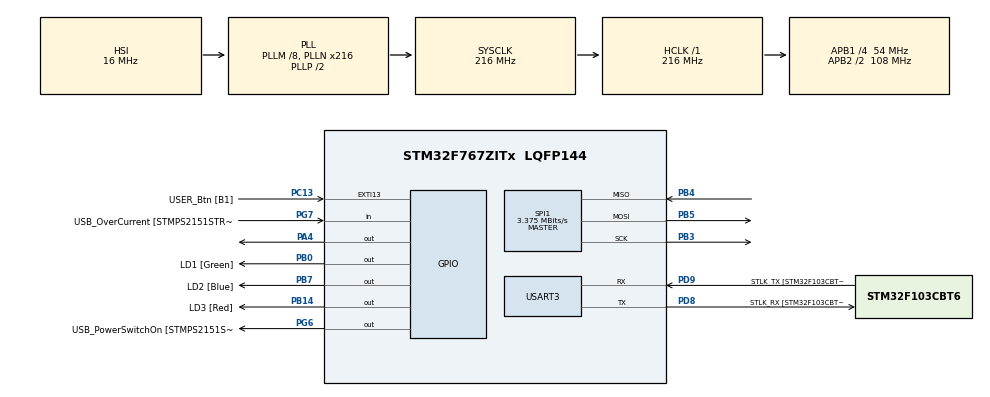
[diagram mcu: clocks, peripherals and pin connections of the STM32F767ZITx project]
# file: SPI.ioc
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Mcu.Family=STM32F7
Mcu.Name=STM32F767ZITx
Mcu.Package=LQFP144
NVIC.PriorityGroup=NVIC_PRIORITYGROUP_4
NVIC.SPI1_IRQn=true\:0\:0\:false\:false\:true\:true\:true
NVIC.USART3_IRQn=true\:0\:0\:false\:false\:true\:true\:true
PA4.Signal=GPIO_Output
PB0.GPIO_Label=LD1 [Green]
PB0.Signal=GPIO_Output
PB14.GPIO_Label=LD3 [Red]
PB14.Signal=GPIO_Output
PB3.Mode=Full_Duplex_Master
PB3.Signal=SPI1_SCK
PB4.Mode=Full_Duplex_Master
PB4.Signal=SPI1_MISO
PB5.Mode=Full_Duplex_Master
PB5.Signal=SPI1_MOSI
PB7.GPIO_Label=LD2 [Blue]
PB7.Signal=GPIO_Output
PC13.GPIO_Label=USER_Btn [B1]
PC13.Signal=GPXTI13
PD8.GPIO_Label=STLK_RX [STM32F103CBT6_PA3]
PD8.Mode=Asynchronous
PD8.Signal=USART3_TX
PD9.GPIO_Label=STLK_TX [STM32F103CBT6_PA2]
PD9.Mode=Asynchronous
PD9.Signal=USART3_RX
PG6.GPIO_Label=USB_PowerSwitchOn [STMPS2151STR_EN]
PG6.Signal=GPIO_Output
PG7.GPIO_Label=USB_OverCurrent [STMPS2151STR_FAULT]
PG7.Signal=GPIO_Input
ProjectManager.HeapSize=0x200
ProjectManager.StackSize=0x400
ProjectManager.TargetToolchain=MDK-ARM V5.27
RCC.48MHZClocksFreq_Value=24000000
RCC.AHBFreq_Value=216000000
RCC.APB1CLKDivider=RCC_HCLK_DIV4
RCC.APB1Freq_Value=54000000
RCC.APB1TimFreq_Value=108000000
RCC.APB2CLKDivider=RCC_HCLK_DIV2
RCC.APB2Freq_Value=108000000
RCC.APB2TimFreq_Value=216000000
RCC.CortexFreq_Value=216000000
RCC.HCLKFreq_Value=216000000
RCC.HSE_VALUE=16000000
RCC.HSI_VALUE=16000000
RCC.LSE_VALUE=32768
RCC.PLLM=8
RCC.PLLMUL=RCC_PLL_MUL9
RCC.PLLN=216
RCC.PRESCALERUSB=RCC_USBCLKSOURCE_PLL_DIV1_5
RCC.SYSCLKFreq_VALUE=216000000
RCC.SYSCLKSource=RCC_SYSCLKSOURCE_PLLCLK
RCC.SYSCLKSourceVirtual=RCC_SYSCLKSOURCE_PLLCLK
RCC.USBFreq_Value=216000000
RCC.VCOOutputFreq_Value=432000000
SPI1.BaudRatePrescaler=SPI_BAUDRATEPRESCALER_32
SPI1.CalculateBaudRate=3.375 MBits/s
SPI1.DataSize=SPI_DATASIZE_8BIT
SPI1.Direction=SPI_DIRECTION_2LINES
SPI1.Mode=SPI_MODE_MASTER
SPI1.NSSPMode=SPI_NSS_PULSE_DISABLE
SPI1.VirtualType=VM_MASTER
USART3.VirtualMode-Asynchronous=VM_ASYNC
board=NUCLEO-F767ZI

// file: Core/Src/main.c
/* USER CODE BEGIN Header */
/**
  ******************************************************************************
  * @file           : main.c
  * @brief          : Main program body
  ******************************************************************************
  * @attention
  *
  * <h2><center>&copy; Copyright (c) 2021 STMicroelectronics.
  * All rights reserved.</center></h2>
  *
  * This software component is licensed by ST under BSD 3-Clause license,
  * the "License"; You may not use this file except in compliance with the
  * License. You may obtain a copy of the License at:
  *                        opensource.org/licenses/BSD-3-Clause
  *
  ******************************************************************************
  */
/* USER CODE END Header */
#include "main.h"
#include "spi.h"
#include "usart.h"
#include "gpio.h"

/* USER CODE BEGIN Includes */
#include "stdint.h"
#include "rfid-rc522.h"
#include "string.h"
/* USER CODE END Includes */

void SystemClock_Config(void);

int main(void)
{
  /* USER CODE BEGIN 1 */
	char *str = {0};
	uint8_t CardID[4];
  uint8_t type;
  char *result;
  /* USER CODE END 1 */

  /* MCU Configuration--------------------------------------------------------*/

  /* Reset of all peripherals, Initializes the Flash interface and the Systick. */
  HAL_Init();

  /* Configure the system clock */
  SystemClock_Config();

  /* Initialize all configured peripherals */
  MX_GPIO_Init();
  MX_SPI1_Init();
  MX_USART3_UART_Init();
  /* USER CODE BEGIN 2 */
	RFID_RC522_Init();
  /* USER CODE END 2 */

  /* Infinite loop */
  /* USER CODE BEGIN WHILE */
  while (1)
  {

		int status = TM_MFRC522_Check(CardID, &type);
		if (status == MI_OK) {
			bin_to_strhex((unsigned char *)CardID, sizeof(CardID), &result);
		}
		else {
        if (status == MI_TIMEOUT) {
            str = "timeout";
        }
        if (status == MI_ERR) {
            str = "error";
        }
    }
    /* USER CODE END WHILE */

  }
}

void SystemClock_Config(void)
{
  RCC_OscInitTypeDef RCC_OscInitStruct = {0};
  RCC_ClkInitTypeDef RCC_ClkInitStruct = {0};
  RCC_PeriphCLKInitTypeDef PeriphClkInitStruct = {0};

  /** Configure the main internal regulator output voltage
  */
  __HAL_RCC_PWR_CLK_ENABLE();
  __HAL_PWR_VOLTAGESCALING_CONFIG(PWR_REGULATOR_VOLTAGE_SCALE1);
  /** Initializes the RCC Oscillators according to the specified parameters
  * in the RCC_OscInitTypeDef structure.
  */
  RCC_OscInitStruct.OscillatorType = RCC_OSCILLATORTYPE_HSI;
  RCC_OscInitStruct.HSIState = RCC_HSI_ON;
  RCC_OscInitStruct.HSICalibrationValue = RCC_HSICALIBRATION_DEFAULT;
  RCC_OscInitStruct.PLL.PLLState = RCC_PLL_ON;
  RCC_OscInitStruct.PLL.PLLSource = RCC_PLLSOURCE_HSI;
  RCC_OscInitStruct.PLL.PLLM = 8;
  RCC_OscInitStruct.PLL.PLLN = 216;
  RCC_OscInitStruct.PLL.PLLP = RCC_PLLP_DIV2;
  RCC_OscInitStruct.PLL.PLLQ = 2;
  if (HAL_RCC_OscConfig(&RCC_OscInitStruct) != HAL_OK)
  {
    Error_Handler();
  }
  /** Activate the Over-Drive mode
  */
  if (HAL_PWREx_EnableOverDrive() != HAL_OK)
  {
    Error_Handler();
  }
  /** Initializes the CPU, AHB and APB buses clocks
  */
  RCC_ClkInitStruct.ClockType = RCC_CLOCKTYPE_HCLK|RCC_CLOCKTYPE_SYSCLK
                              |RCC_CLOCKTYPE_PCLK1|RCC_CLOCKTYPE_PCLK2;
  RCC_ClkInitStruct.SYSCLKSource = RCC_SYSCLKSOURCE_PLLCLK;
  RCC_ClkInitStruct.AHBCLKDivider = RCC_SYSCLK_DIV1;
  RCC_ClkInitStruct.APB1CLKDivider = RCC_HCLK_DIV4;
  RCC_ClkInitStruct.APB2CLKDivider = RCC_HCLK_DIV2;

  if (HAL_RCC_ClockConfig(&RCC_ClkInitStruct, FLASH_LATENCY_7) != HAL_OK)
  {
    Error_Handler();
  }
  PeriphClkInitStruct.PeriphClockSelection = RCC_PERIPHCLK_USART3;
  PeriphClkInitStruct.Usart3ClockSelection = RCC_USART3CLKSOURCE_PCLK1;
  if (HAL_RCCEx_PeriphCLKConfig(&PeriphClkInitStruct) != HAL_OK)
  {
    Error_Handler();
  }
}

void Error_Handler(void)
{
  __disable_irq();
  while (1)
  {
  }
}

/************************ (C) COPYRIGHT STMicroelectronics *****END OF FILE****/
